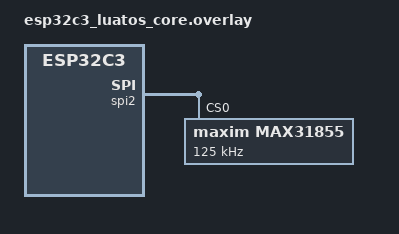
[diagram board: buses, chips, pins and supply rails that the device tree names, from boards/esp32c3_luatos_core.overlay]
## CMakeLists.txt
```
# SPDX-License-Identifier: Apache-2.0

cmake_minimum_required(VERSION 3.20.0)
find_package(Zephyr REQUIRED HINTS $ENV{ZEPHYR_BASE})
project(peripheral_esp)

FILE(GLOB app_sources src/*.c)
target_sources(app PRIVATE ${app_sources})

set(CMAKE_EXPORT_COMPILE_COMMANDS ON)

target_sources(app PRIVATE
  src/main.c
)

zephyr_library_include_directories(${ZEPHYR_BASE}/samples/bluetooth)
```

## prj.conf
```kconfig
CONFIG_STDOUT_CONSOLE=y
CONFIG_LOG=y
CONFIG_SPI=y
CONFIG_SENSOR=y
CONFIG_SENSOR_LOG_LEVEL_DBG=y
CONFIG_MAX31855=y

CONFIG_BT=y
CONFIG_BT_PERIPHERAL=y
CONFIG_BT_SMP=y
CONFIG_TINYCRYPT=y
CONFIG_BT_DEVICE_NAME="THERMOCOUPLE"
CONFIG_BT_DIS=y
CONFIG_BT_DIS_PNP=n
CONFIG_BT_BAS=y
CONFIG_BT_DEVICE_APPEARANCE=768
```

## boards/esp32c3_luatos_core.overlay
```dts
&spi2 {
	status = "okay";
	max31855@0 {
		compatible = "maxim,max31855";
		reg = <0>;
		label = "MAX31855";
		spi-max-frequency = <125000>;
	};
};
```

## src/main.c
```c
/* main.c - Application main entry point */

/*
 * Copyright (c) 2016 Intel Corporation
 *
 * SPDX-License-Identifier: Apache-2.0
 */

#include <stdbool.h>
#include <zephyr/types.h>
#include <stddef.h>
#include <string.h>
#include <errno.h>
#include <zephyr/sys/printk.h>
#include <zephyr/sys/byteorder.h>
#include <zephyr/kernel.h>

#include <stdio.h>
#include <zephyr/drivers/sensor.h>
#include <zephyr/kernel.h>

#include <zephyr/bluetooth/bluetooth.h>
#include <zephyr/bluetooth/hci.h>
#include <zephyr/bluetooth/conn.h>
#include <zephyr/bluetooth/uuid.h>
#include <zephyr/bluetooth/gatt.h>

#define SENSOR_1_NAME "Temperature Sensor 1"

/* Sensor Internal Update Interval [seconds] */
#define SENSOR_1_UPDATE_IVAL 1

/* ESS error definitions */
#define ESS_ERR_WRITE_REJECT  0x80
#define ESS_ERR_COND_NOT_SUPP 0x81

/* ESS Trigger Setting conditions */
#define ESS_TRIGGER_INACTIVE              0x00
#define ESS_FIXED_TIME_INTERVAL           0x01
#define ESS_NO_LESS_THAN_SPECIFIED_TIME   0x02
#define ESS_VALUE_CHANGED                 0x03
#define ESS_LESS_THAN_REF_VALUE           0x04
#define ESS_LESS_OR_EQUAL_TO_REF_VALUE    0x05
#define ESS_GREATER_THAN_REF_VALUE        0x06
#define ESS_GREATER_OR_EQUAL_TO_REF_VALUE 0x07
#define ESS_EQUAL_TO_REF_VALUE            0x08
#define ESS_NOT_EQUAL_TO_REF_VALUE        0x09

static ssize_t read_u16(struct bt_conn *conn, const struct bt_gatt_attr *attr, void *buf,
			uint16_t len, uint16_t offset)
{
	const uint16_t *u16 = attr->user_data;
	uint16_t value = sys_cpu_to_le16(*u16);

	return bt_gatt_attr_read(conn, attr, buf, len, offset, &value, sizeof(value));
}

/* Environmental Sensing Service Declaration */

struct es_measurement {
	uint16_t flags; /* Reserved for Future Use */
	uint8_t sampling_func;
	uint32_t meas_period;
	uint32_t update_interval;
	uint8_t application;
	uint8_t meas_uncertainty;
};

struct temperature_sensor {
	int16_t temp_value;

	/* Valid Range */
	int32_t lower_limit;
	int32_t upper_limit;

	/* ES trigger setting - Value Notification condition */
	uint8_t condition;
	union {
		uint32_t seconds;
		int16_t ref_val; /* Reference temperature */
	};

	struct es_measurement meas;
};

static bool simulate_temp;
static struct temperature_sensor sensor_1 = {
	.temp_value = 0,
	.lower_limit = -10000,
	.upper_limit = 500000,
	.condition = ESS_VALUE_CHANGED,
	.meas.sampling_func = 0x01,
	.meas.meas_period = 0x01,
	.meas.update_interval = SENSOR_1_UPDATE_IVAL,
	.meas.application = 0x00,
	.meas.meas_uncertainty = 0x02,
};

static void temp_ccc_cfg_changed(const struct bt_gatt_attr *attr, uint16_t value)
{
	simulate_temp = value == BT_GATT_CCC_NOTIFY;
}

struct read_es_measurement_rp {
	uint16_t flags; /* Reserved for Future Use */
	uint8_t sampling_function;
	uint8_t measurement_period[3];
	uint8_t update_interval[3];
	uint8_t application;
	uint8_t measurement_uncertainty;
} __packed;

static ssize_t read_es_measurement(struct bt_conn *conn, const struct bt_gatt_attr *attr, void *buf,
				   uint16_t len, uint16_t offset)
{
	const struct es_measurement *value = attr->user_data;
	struct read_es_measurement_rp rsp;

	rsp.flags = sys_cpu_to_le16(value->flags);
	rsp.sampling_function = value->sampling_func;
	sys_put_le24(value->meas_period, rsp.measurement_period);
	sys_put_le24(value->update_interval, rsp.update_interval);
	rsp.application = value->application;
	rsp.measurement_uncertainty = value->meas_uncertainty;

	return bt_gatt_attr_read(conn, attr, buf, len, offset, &rsp, sizeof(rsp));
}

static ssize_t read_temp_valid_range(struct bt_conn *conn, const struct bt_gatt_attr *attr,
				     void *buf, uint16_t len, uint16_t offset)
{
	const struct temperature_sensor *sensor = attr->user_data;
	uint16_t tmp[] = {sys_cpu_to_le16(sensor->lower_limit),
			  sys_cpu_to_le16(sensor->upper_limit)};

	return bt_gatt_attr_read(conn, attr, buf, len, offset, tmp, sizeof(tmp));
}

struct es_trigger_setting_seconds {
	uint8_t condition;
	uint8_t sec[3];
} __packed;

struct es_trigger_setting_reference {
	uint8_t condition;
	int16_t ref_val;
} __packed;

static ssize_t read_temp_trigger_setting(struct bt_conn *conn, const struct bt_gatt_attr *attr,
					 void *buf, uint16_t len, uint16_t offset)
{
	const struct temperature_sensor *sensor = attr->user_data;

	switch (sensor->condition) {
	/* Operand N/A */
	case ESS_TRIGGER_INACTIVE:
		__fallthrough;
	case ESS_VALUE_CHANGED:
		return bt_gatt_attr_read(conn, attr, buf, len, offset, &sensor->condition,
					 sizeof(sensor->condition));
	/* Seconds */
	case ESS_FIXED_TIME_INTERVAL:
		__fallthrough;
	case ESS_NO_LESS_THAN_SPECIFIED_TIME: {
		struct es_trigger_setting_seconds rp;

		rp.condition = sensor->condition;
		sys_put_le24(sensor->seconds, rp.sec);

		return bt_gatt_attr_read(conn, attr, buf, len, offset, &rp, sizeof(rp));
	}
	/* Reference temperature */
	default: {
		struct es_trigger_setting_reference rp;

		rp.condition = sensor->condition;
		rp.ref_val = sys_cpu_to_le16(sensor->ref_val);

		return bt_gatt_attr_read(conn, attr, buf, len, offset, &rp, sizeof(rp));
	}
	}
}

static bool check_condition(uint8_t condition, int16_t old_val, int16_t new_val, int16_t ref_val)
{
	switch (condition) {
	case ESS_TRIGGER_INACTIVE:
		return false;
	case ESS_FIXED_TIME_INTERVAL:
	case ESS_NO_LESS_THAN_SPECIFIED_TIME:
		/* TODO: Check time requirements */
		return false;
	case ESS_VALUE_CHANGED:
		return new_val != old_val;
	case ESS_LESS_THAN_REF_VALUE:
		return new_val < ref_val;
	case ESS_LESS_OR_EQUAL_TO_REF_VALUE:
		return new_val <= ref_val;
	case ESS_GREATER_THAN_REF_VALUE:
		return new_val > ref_val;
	case ESS_GREATER_OR_EQUAL_TO_REF_VALUE:
		return new_val >= ref_val;
	case ESS_EQUAL_TO_REF_VALUE:
		return new_val == ref_val;
	case ESS_NOT_EQUAL_TO_REF_VALUE:
		return new_val != ref_val;
	default:
		return false;
	}
}

static void update_temperature(struct bt_conn *conn, const struct bt_gatt_attr *chrc, int16_t value,
			       struct temperature_sensor *sensor)
{
	// bool notify =
	// 	check_condition(sensor->condition, sensor->temp_value, value, sensor->ref_val);

	// ESS_FIXED_TIME_INTERVAL is not implemented
	bool notify = true;

	/* Update temperature value */
	sensor->temp_value = value;

	/* Trigger notification if conditions are met */
	if (notify) {
		value = sys_cpu_to_le16(sensor->temp_value);

		bt_gatt_notify(conn, chrc, &value, sizeof(value));
	}
}

BT_GATT_SERVICE_DEFINE(ess_svc, BT_GATT_PRIMARY_SERVICE(BT_UUID_ESS),

		       /* Temperature Sensor 1 */
		       BT_GATT_CHARACTERISTIC(BT_UUID_TEMPERATURE,
					      BT_GATT_CHRC_READ | BT_GATT_CHRC_NOTIFY,
					      BT_GATT_PERM_READ, read_u16, NULL,
					      &sensor_1.temp_value),
		       BT_GATT_DESCRIPTOR(BT_UUID_ES_MEASUREMENT, BT_GATT_PERM_READ,
					  read_es_measurement, NULL, &sensor_1.meas),
		       BT_GATT_CUD(SENSOR_1_NAME, BT_GATT_PERM_READ),
		       BT_GATT_DESCRIPTOR(BT_UUID_VALID_RANGE, BT_GATT_PERM_READ,
					  read_temp_valid_range, NULL, &sensor_1),
		       BT_GATT_DESCRIPTOR(BT_UUID_ES_TRIGGER_SETTING, BT_GATT_PERM_READ,
					  read_temp_trigger_setting, NULL, &sensor_1),
		       BT_GATT_CCC(temp_ccc_cfg_changed, BT_GATT_PERM_READ | BT_GATT_PERM_WRITE), );

static const struct bt_data ad[] = {
	BT_DATA_BYTES(BT_DATA_FLAGS, (BT_LE_AD_GENERAL | BT_LE_AD_NO_BREDR)),
	BT_DATA_BYTES(BT_DATA_GAP_APPEARANCE, 0x00, 0x03),
	BT_DATA_BYTES(BT_DATA_UUID16_ALL, BT_UUID_16_ENCODE(BT_UUID_ESS_VAL)),
};

static void connected(struct bt_conn *conn, uint8_t err)
{
	if (err) {
		printk("Connection failed (err 0x%02x)\n", err);
	} else {
		printk("Connected\n");
	}
}

static void disconnected(struct bt_conn *conn, uint8_t reason)
{
	printk("Disconnected (reason 0x%02x)\n", reason);
}

BT_CONN_CB_DEFINE(conn_callbacks) = {
	.connected = connected,
	.disconnected = disconnected,
};

static void bt_ready(void)
{
	int err;

	printk("Bluetooth initialized\n");

	err = bt_le_adv_start(BT_LE_ADV_CONN_NAME, ad, ARRAY_SIZE(ad), NULL, 0);
	if (err) {
		printk("Advertising failed to start (err %d)\n", err);
		return;
	}

	printk("Advertising successfully started\n");
}

static void auth_passkey_display(struct bt_conn *conn, unsigned int passkey)
{
	char addr[BT_ADDR_LE_STR_LEN];

	bt_addr_le_to_str(bt_conn_get_dst(conn), addr, sizeof(addr));

	printk("Passkey for %s: %06u\n", addr, passkey);
}

static void auth_cancel(struct bt_conn *conn)
{
	char addr[BT_ADDR_LE_STR_LEN];

	bt_addr_le_to_str(bt_conn_get_dst(conn), addr, sizeof(addr));

	printk("Pairing cancelled: %s\n", addr);
}

static struct bt_conn_auth_cb auth_cb_display = {
	.passkey_display = auth_passkey_display,
	.passkey_entry = NULL,
	.cancel = auth_cancel,
};

int main(void)
{
	int err;

	err = bt_enable(NULL);
	if (err) {
		printk("Bluetooth init failed (err %d)\n", err);
		return 0;
	}

	bt_ready();

	bt_conn_auth_cb_register(&auth_cb_display);

	const struct device *const dev = DEVICE_DT_GET_ANY(maxim_max31855);

	if (dev == NULL) {
		printf("Could not get max31855 device\n");
		return 0;
	}
	if (!device_is_ready(dev)) {
		printf("max31855 device %s is not ready\n", dev->name);
		return 0;
	}

	while (1) {
		struct sensor_value thermocouple_temp, die_temp;

		sensor_sample_fetch(dev);
		sensor_channel_get(dev, SENSOR_CHAN_AMBIENT_TEMP, &thermocouple_temp);
		sensor_channel_get(dev, SENSOR_CHAN_DIE_TEMP, &die_temp);

		float temp = sensor_value_to_float(&thermocouple_temp);
		update_temperature(NULL, &ess_svc.attrs[2], temp * 100, &sensor_1);

		printk("Thermocouple temp: %d.%06d C; die temp: %d.%06d C\n",
		       thermocouple_temp.val1, thermocouple_temp.val2, die_temp.val1,
		       die_temp.val2);

		k_sleep(K_SECONDS(SENSOR_1_UPDATE_IVAL));
	}
	return 0;
}
```
